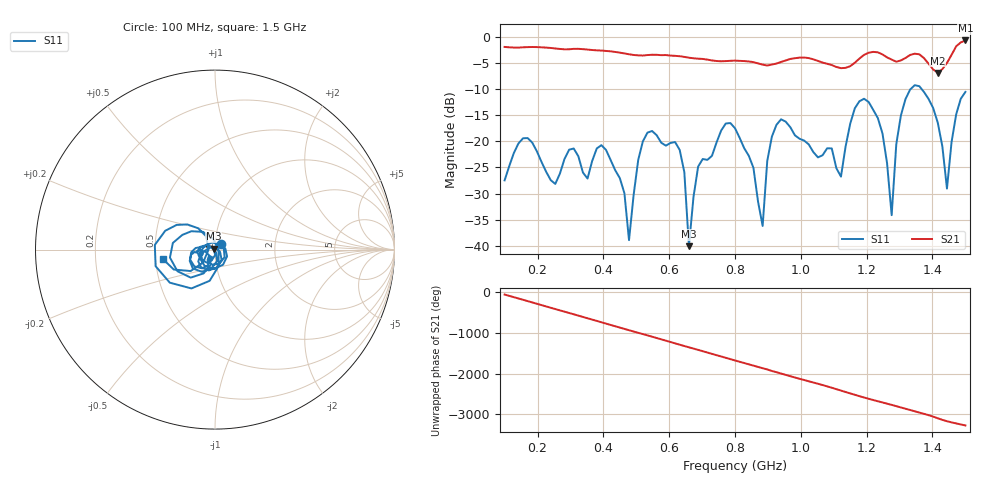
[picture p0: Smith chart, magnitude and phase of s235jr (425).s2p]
! NanoVNA-App
! Date: 2025-09-25 15:07:28
! Start: 100MHz Stop: 1,5GHz Points: 101
! S-Parameter data: F S11 S21 S12 S22
# Hz S RI R 50
!  Frequency  S11_Real  S11_Imag  S21_Real  S21_Imag  S12_Real  S12_Imag  S22_Real  S22_Imag
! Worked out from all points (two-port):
!   101 points, 100 MHz to 1.5 GHz, reference 50 ohm
!   highest |S21| = -0.73 dB at 1.5 GHz (marker M1); lowest = -6.9 dB at 1.416 GHz (marker M2)
!   |S21| within 3 dB of the highest: start of sweep to 629.6 MHz; 1.187 GHz to 1.256 GHz (69.01 MHz wide, 5.65 % of centre) (the widest 2 of 4)
!   lowest |S11| = -40.0 dB at 660 MHz (marker M3), VSWR 1.02, Z = 49.2 + j0.563 ohm
!   |S11| at or under -10 dB: start of sweep to 1.334 GHz; 1.367 GHz to end of sweep
!   S12 and S22 are empty: the file has one direction only
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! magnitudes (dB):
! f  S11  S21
! 100 MHz  -27.5  -2.0
! 156 MHz  -19.4  -2.0
! 338 MHz  -26.0  -2.4
! 408 MHz  -21.6  -2.7
! 478 MHz  -38.9  -3.4
! 520 MHz  -20.0  -3.6
! 576 MHz  -20.3  -3.5
! 632 MHz  -21.7  -3.7
! 660 MHz  -40.0  -4.0
! 688 MHz  -24.8  -4.2
! 800 MHz  -17.5  -4.6
! 884 MHz  -36.2  -5.3
! 926 MHz  -16.8  -5.1
! 1.038 GHz  -22.1  -4.3
! 1.122 GHz  -26.8  -6.0
! 1.206 GHz  -12.5  -3.1
! 1.276 GHz  -34.1  -4.4
! 1.29 GHz  -20.6  -4.8
! 1.332 GHz  -10.1  -3.5
! 1.416 GHz  -16.4  -6.9
! 1.444 GHz  -29.0  -5.0
! 1.5 GHz  -10.6  -0.7
